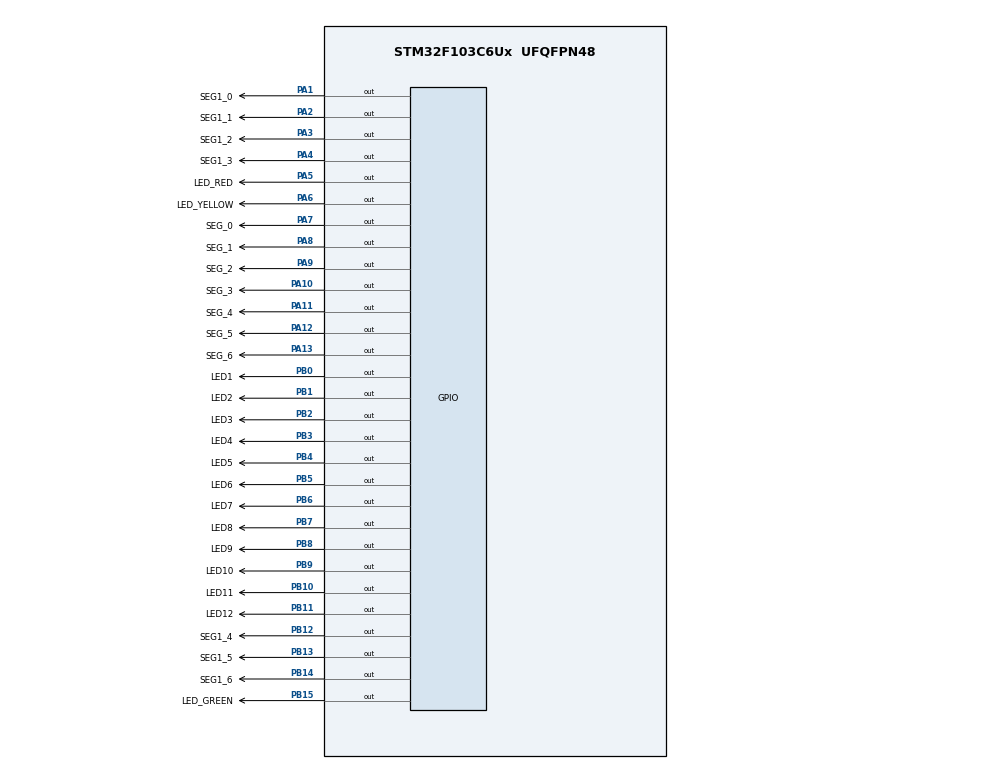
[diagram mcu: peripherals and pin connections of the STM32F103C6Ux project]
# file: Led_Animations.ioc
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Mcu.Family=STM32F1
Mcu.Name=STM32F103C6Ux
Mcu.Package=UFQFPN48
NVIC.PriorityGroup=NVIC_PRIORITYGROUP_4
PA1.GPIO_Label=SEG1_0
PA1.Signal=GPIO_Output
PA10.GPIO_Label=SEG_3
PA10.Signal=GPIO_Output
PA11.GPIO_Label=SEG_4
PA11.Signal=GPIO_Output
PA12.GPIO_Label=SEG_5
PA12.Signal=GPIO_Output
PA13.GPIO_Label=SEG_6
PA13.Signal=GPIO_Output
PA2.GPIO_Label=SEG1_1
PA2.Signal=GPIO_Output
PA3.GPIO_Label=SEG1_2
PA3.Signal=GPIO_Output
PA4.GPIO_Label=SEG1_3
PA4.Signal=GPIO_Output
PA5.GPIO_Label=LED_RED
PA5.Signal=GPIO_Output
PA6.GPIO_Label=LED_YELLOW
PA6.Signal=GPIO_Output
PA7.GPIO_Label=SEG_0
PA7.Signal=GPIO_Output
PA8.GPIO_Label=SEG_1
PA8.Signal=GPIO_Output
PA9.GPIO_Label=SEG_2
PA9.Signal=GPIO_Output
PB0.GPIO_Label=LED1
PB0.Signal=GPIO_Output
PB1.GPIO_Label=LED2
PB1.Signal=GPIO_Output
PB10.GPIO_Label=LED11
PB10.Signal=GPIO_Output
PB11.GPIO_Label=LED12
PB11.Signal=GPIO_Output
PB12.GPIO_Label=SEG1_4
PB12.Signal=GPIO_Output
PB13.GPIO_Label=SEG1_5
PB13.Signal=GPIO_Output
PB14.GPIO_Label=SEG1_6
PB14.Signal=GPIO_Output
PB15.GPIO_Label=LED_GREEN
PB15.Signal=GPIO_Output
PB2.GPIO_Label=LED3
PB2.Signal=GPIO_Output
PB3.GPIO_Label=LED4
PB3.Signal=GPIO_Output
PB4.GPIO_Label=LED5
PB4.Signal=GPIO_Output
PB5.GPIO_Label=LED6
PB5.Signal=GPIO_Output
PB6.GPIO_Label=LED7
PB6.Signal=GPIO_Output
PB7.GPIO_Label=LED8
PB7.Signal=GPIO_Output
PB8.GPIO_Label=LED9
PB8.Signal=GPIO_Output
PB9.GPIO_Label=LED10
PB9.Signal=GPIO_Output
ProjectManager.HeapSize=0x200
ProjectManager.StackSize=0x400
ProjectManager.TargetToolchain=STM32CubeIDE
RCC.APB1Freq_Value=8000000
RCC.APB2Freq_Value=8000000
VP_SYS_VS_ND.Mode=No_Debug
board=custom

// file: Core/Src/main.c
/* USER CODE BEGIN Header */
/**
  ******************************************************************************
  * @file           : main.c
  * @brief          : Main program body
  ******************************************************************************
  * @attention
  *
  * <h2><center>&copy; Copyright (c) 2024 STMicroelectronics.
  * All rights reserved.</center></h2>
  *
  * This software component is licensed by ST under BSD 3-Clause license,
  * the "License"; You may not use this file except in compliance with the
  * License. You may obtain a copy of the License at:
  *                        opensource.org/licenses/BSD-3-Clause
  *
  ******************************************************************************
  */
/* USER CODE END Header */
#include "main.h"

/* USER CODE BEGIN PV */
#define RED 100
#define YELLOW 200
#define GREEN 300
#define LED1 1
#define LED2 2
#define LED3 3
#define LED4 4
#define LED5 5
#define LED6 6
#define LED7 7
#define LED8 8
#define LED9 9
#define LED10 10
#define LED11 11
#define LED12 12

/* USER CODE END PV */

void SystemClock_Config(void);
static void MX_GPIO_Init(void);

/* USER CODE BEGIN 0 */
void OFF(int LED_COLOR){
	switch(LED_COLOR){
	case RED:
		HAL_GPIO_WritePin(LED_RED_GPIO_Port, LED_RED_Pin, SET);
		break;
	case YELLOW:
		HAL_GPIO_WritePin(LED_YELLOW_GPIO_Port, LED_YELLOW_Pin, SET);
		break;
	case GREEN:
		HAL_GPIO_WritePin(LED_GREEN_GPIO_Port, LED_GREEN_Pin, SET);
		break;
	case LED1:
		 HAL_GPIO_WritePin(LED1_GPIO_Port, LED1_Pin, RESET);
		 break;
	case LED2:
		HAL_GPIO_WritePin(LED2_GPIO_Port, LED2_Pin, RESET);
		break;
	case LED3:
		HAL_GPIO_WritePin(LED3_GPIO_Port, LED3_Pin, RESET);
		break;
	case LED4:
		HAL_GPIO_WritePin(LED4_GPIO_Port, LED4_Pin, RESET);
		break;
	case LED5:
		HAL_GPIO_WritePin(LED5_GPIO_Port, LED5_Pin, RESET);
		break;
	case LED6:
		HAL_GPIO_WritePin(LED6_GPIO_Port, LED6_Pin, RESET);
		break;
	case LED7:
		HAL_GPIO_WritePin(LED7_GPIO_Port, LED7_Pin, RESET);
		break;
	case LED8:
		HAL_GPIO_WritePin(LED8_GPIO_Port, LED8_Pin, RESET);
		break;
	case LED9:
		HAL_GPIO_WritePin(LED9_GPIO_Port, LED9_Pin, RESET);
		break;
	case LED10:
		HAL_GPIO_WritePin(LED10_GPIO_Port, LED10_Pin, RESET);
		break;
	case LED11:
		HAL_GPIO_WritePin(LED11_GPIO_Port, LED11_Pin, RESET);
		break;
	case LED12:
		HAL_GPIO_WritePin(LED12_GPIO_Port, LED12_Pin, RESET);
		break;
	default:
		break;
	}
}
void ON(int LED_COLOR){
	switch(LED_COLOR){
		case RED:
			HAL_GPIO_WritePin(LED_RED_GPIO_Port, LED_RED_Pin, RESET);
			break;
		case YELLOW:
			HAL_GPIO_WritePin(LED_YELLOW_GPIO_Port, LED_YELLOW_Pin, RESET);
			break;
		case GREEN:
			HAL_GPIO_WritePin(LED_GREEN_GPIO_Port, LED_GREEN_Pin, RESET);
			break;
		case LED1:
			HAL_GPIO_WritePin(LED1_GPIO_Port, LED1_Pin, SET);
			break;
		case LED2:
			HAL_GPIO_WritePin(LED2_GPIO_Port, LED2_Pin, SET);
			break;
		case LED3:
			HAL_GPIO_WritePin(LED3_GPIO_Port, LED3_Pin, SET);
			break;
		case LED4:
			HAL_GPIO_WritePin(LED4_GPIO_Port, LED4_Pin, SET);
			break;
		case LED5:
			HAL_GPIO_WritePin(LED5_GPIO_Port, LED5_Pin, SET);
			break;
		case LED6:
			HAL_GPIO_WritePin(LED6_GPIO_Port, LED6_Pin, SET);
			break;
		case LED7:
			HAL_GPIO_WritePin(LED7_GPIO_Port, LED7_Pin, SET);
			break;
		case LED8:
			HAL_GPIO_WritePin(LED8_GPIO_Port, LED8_Pin, SET);
			break;
		case LED9:
			HAL_GPIO_WritePin(LED9_GPIO_Port, LED9_Pin, SET);
			break;
		case LED10:
			HAL_GPIO_WritePin(LED10_GPIO_Port, LED10_Pin, SET);
			break;
		case LED11:
			HAL_GPIO_WritePin(LED11_GPIO_Port, LED11_Pin, SET);
			break;
		case LED12:
			HAL_GPIO_WritePin(LED12_GPIO_Port, LED12_Pin, SET);
			break;
		default:
			break;
		}

}
void display7SEG(int num){
	switch(num){
	case 0:
		 HAL_GPIO_WritePin(SEG_0_GPIO_Port, SEG_0_Pin, RESET);
	 	 HAL_GPIO_WritePin(SEG_1_GPIO_Port, SEG_1_Pin, RESET);
	  	 HAL_GPIO_WritePin(SEG_2_GPIO_Port, SEG_2_Pin, RESET);
	  	 HAL_GPIO_WritePin(SEG_3_GPIO_Port, SEG_3_Pin, RESET);
	  	 HAL_GPIO_WritePin(SEG_4_GPIO_Port, SEG_4_Pin, RESET);
	  	 HAL_GPIO_WritePin(SEG_5_GPIO_Port, SEG_5_Pin, RESET);
	 	 HAL_GPIO_WritePin(SEG_6_GPIO_Port, SEG_6_Pin, SET);
	 	 break;

	case 1:
		HAL_GPIO_WritePin(SEG_0_GPIO_Port, SEG_0_Pin, SET);
	  	HAL_GPIO_WritePin(SEG_1_GPIO_Port, SEG_1_Pin, RESET);
	  	HAL_GPIO_WritePin(SEG_2_GPIO_Port, SEG_2_Pin, RESET);
	 	HAL_GPIO_WritePin(SEG_3_GPIO_Port, SEG_3_Pin, SET);
	  	HAL_GPIO_WritePin(SEG_4_GPIO_Port, SEG_4_Pin, SET);
	  	HAL_GPIO_WritePin(SEG_5_GPIO_Port, SEG_5_Pin, SET);
	  	HAL_GPIO_WritePin(SEG_6_GPIO_Port, SEG_6_Pin, SET);
	  	break;
	case 2:
		HAL_GPIO_WritePin(SEG_0_GPIO_Port, SEG_0_Pin, RESET);
		HAL_GPIO_WritePin(SEG_1_GPIO_Port, SEG_1_Pin, RESET);
	  	HAL_GPIO_WritePin(SEG_2_GPIO_Port, SEG_2_Pin, SET);
	  	HAL_GPIO_WritePin(SEG_3_GPIO_Port, SEG_3_Pin, RESET);
	 	HAL_GPIO_WritePin(SEG_4_GPIO_Port, SEG_4_Pin, RESET);
	 	HAL_GPIO_WritePin(SEG_5_GPIO_Port, SEG_5_Pin, SET);
		HAL_GPIO_WritePin(SEG_6_GPIO_Port, SEG_6_Pin, RESET);
		break;
	case 3:
	  	HAL_GPIO_WritePin(SEG_0_GPIO_Port, SEG_0_Pin, RESET);
	  	HAL_GPIO_WritePin(SEG_1_GPIO_Port, SEG_1_Pin, RESET);
	  	HAL_GPIO_WritePin(SEG_2_GPIO_Port, SEG_2_Pin, RESET);
	 	HAL_GPIO_WritePin(SEG_3_GPIO_Port, SEG_3_Pin, RESET);
	 	HAL_GPIO_WritePin(SEG_4_GPIO_Port, SEG_4_Pin, SET);
	 	HAL_GPIO_WritePin(SEG_5_GPIO_Port, SEG_5_Pin, SET);
	  	HAL_GPIO_WritePin(SEG_6_GPIO_Port, SEG_6_Pin, RESET);
	  	break;

	case 4:
		HAL_GPIO_WritePin(SEG_0_GPIO_Port, SEG_0_Pin, SET);
		HAL_GPIO_WritePin(SEG_1_GPIO_Port, SEG_1_Pin, RESET);
		HAL_GPIO_WritePin(SEG_2_GPIO_Port, SEG_2_Pin, RESET);
	  	HAL_GPIO_WritePin(SEG_3_GPIO_Port, SEG_3_Pin, SET);
	  	HAL_GPIO_WritePin(SEG_4_GPIO_Port, SEG_4_Pin, SET);
		HAL_GPIO_WritePin(SEG_5_GPIO_Port, SEG_5_Pin, RESET);
		HAL_GPIO_WritePin(SEG_6_GPIO_Port, SEG_6_Pin, RESET);
		break;
	case 5:
		HAL_GPIO_WritePin(SEG_0_GPIO_Port, SEG_0_Pin, RESET);
		HAL_GPIO_WritePin(SEG_1_GPIO_Port, SEG_1_Pin, SET);
		HAL_GPIO_WritePin(SEG_2_GPIO_Port, SEG_2_Pin, RESET);
		HAL_GPIO_WritePin(SEG_3_GPIO_Port, SEG_3_Pin, RESET);
		HAL_GPIO_WritePin(SEG_4_GPIO_Port, SEG_4_Pin, SET);
		HAL_GPIO_WritePin(SEG_5_GPIO_Port, SEG_5_Pin, RESET);
		HAL_GPIO_WritePin(SEG_6_GPIO_Port, SEG_6_Pin, RESET);
		break;
	case 6:
		HAL_GPIO_WritePin(SEG_0_GPIO_Port, SEG_0_Pin, RESET);
		HAL_GPIO_WritePin(SEG_1_GPIO_Port, SEG_1_Pin, SET);
		HAL_GPIO_WritePin(SEG_2_GPIO_Port, SEG_2_Pin, RESET);
		HAL_GPIO_WritePin(SEG_3_GPIO_Port, SEG_3_Pin, RESET);
		HAL_GPIO_WritePin(SEG_4_GPIO_Port, SEG_4_Pin, RESET);
		HAL_GPIO_WritePin(SEG_5_GPIO_Port, SEG_5_Pin, RESET);
		HAL_GPIO_WritePin(SEG_6_GPIO_Port, SEG_6_Pin, RESET);
		break;
	case 7:
		HAL_GPIO_WritePin(SEG_0_GPIO_Port, SEG_0_Pin, RESET);
		HAL_GPIO_WritePin(SEG_1_GPIO_Port, SEG_1_Pin, RESET);
		HAL_GPIO_WritePin(SEG_2_GPIO_Port, SEG_2_Pin, RESET);
		HAL_GPIO_WritePin(SEG_3_GPIO_Port, SEG_3_Pin, SET);
		HAL_GPIO_WritePin(SEG_4_GPIO_Port, SEG_4_Pin, SET);
		HAL_GPIO_WritePin(SEG_5_GPIO_Port, SEG_5_Pin, SET);
		HAL_GPIO_WritePin(SEG_6_GPIO_Port, SEG_6_Pin, SET);
		break;
	case 8:
		HAL_GPIO_WritePin(SEG_0_GPIO_Port, SEG_0_Pin, RESET);
		HAL_GPIO_WritePin(SEG_1_GPIO_Port, SEG_1_Pin, RESET);
		HAL_GPIO_WritePin(SEG_2_GPIO_Port, SEG_2_Pin, RESET);
		HAL_GPIO_WritePin(SEG_3_GPIO_Port, SEG_3_Pin, RESET);
		HAL_GPIO_WritePin(SEG_4_GPIO_Port, SEG_4_Pin, RESET);
		HAL_GPIO_WritePin(SEG_5_GPIO_Port, SEG_5_Pin, RESET);
		HAL_GPIO_WritePin(SEG_6_GPIO_Port, SEG_6_Pin, RESET);
		break;
	case 9:
		HAL_GPIO_WritePin(SEG_0_GPIO_Port, SEG_0_Pin, RESET);
		HAL_GPIO_WritePin(SEG_1_GPIO_Port, SEG_1_Pin, RESET);
		HAL_GPIO_WritePin(SEG_2_GPIO_Port, SEG_2_Pin, RESET);
		HAL_GPIO_WritePin(SEG_3_GPIO_Port, SEG_3_Pin, RESET);
		HAL_GPIO_WritePin(SEG_4_GPIO_Port, SEG_4_Pin, SET);
		HAL_GPIO_WritePin(SEG_5_GPIO_Port, SEG_5_Pin, RESET);
		HAL_GPIO_WritePin(SEG_6_GPIO_Port, SEG_6_Pin, RESET);
		break;
	default:
		break;
	}
}
void display7SEG1(int num){
	switch(num){
	case 0:
		 HAL_GPIO_WritePin(SEG1_0_GPIO_Port, SEG1_0_Pin, RESET);
	 	 HAL_GPIO_WritePin(SEG1_1_GPIO_Port, SEG1_1_Pin, RESET);
	  	 HAL_GPIO_WritePin(SEG1_2_GPIO_Port, SEG1_2_Pin, RESET);
	  	 HAL_GPIO_WritePin(SEG1_3_GPIO_Port, SEG1_3_Pin, RESET);
	  	 HAL_GPIO_WritePin(SEG1_4_GPIO_Port, SEG1_4_Pin, RESET);
	  	 HAL_GPIO_WritePin(SEG1_5_GPIO_Port, SEG1_5_Pin, RESET);
	 	 HAL_GPIO_WritePin(SEG1_6_GPIO_Port, SEG1_6_Pin, SET);
	 	 break;

	case 1:
		HAL_GPIO_WritePin(SEG1_0_GPIO_Port, SEG1_0_Pin, SET);
	  	HAL_GPIO_WritePin(SEG1_1_GPIO_Port, SEG1_1_Pin, RESET);
	  	HAL_GPIO_WritePin(SEG1_2_GPIO_Port, SEG1_2_Pin, RESET);
	 	HAL_GPIO_WritePin(SEG1_3_GPIO_Port, SEG1_3_Pin, SET);
	  	HAL_GPIO_WritePin(SEG1_4_GPIO_Port, SEG1_4_Pin, SET);
	  	HAL_GPIO_WritePin(SEG1_5_GPIO_Port, SEG1_5_Pin, SET);
	  	HAL_GPIO_WritePin(SEG1_6_GPIO_Port, SEG1_6_Pin, SET);
	  	break;
	case 2:
		HAL_GPIO_WritePin(SEG1_0_GPIO_Port, SEG1_0_Pin, RESET);
		HAL_GPIO_WritePin(SEG1_1_GPIO_Port, SEG1_1_Pin, RESET);
	  	HAL_GPIO_WritePin(SEG1_2_GPIO_Port, SEG1_2_Pin, SET);
	  	HAL_GPIO_WritePin(SEG1_3_GPIO_Port, SEG1_3_Pin, RESET);
	 	HAL_GPIO_WritePin(SEG1_4_GPIO_Port, SEG1_4_Pin, RESET);
	 	HAL_GPIO_WritePin(SEG1_5_GPIO_Port, SEG1_5_Pin, SET);
		HAL_GPIO_WritePin(SEG1_6_GPIO_Port, SEG1_6_Pin, RESET);
		break;
	case 3:
	  	HAL_GPIO_WritePin(SEG1_0_GPIO_Port, SEG1_0_Pin, RESET);
	  	HAL_GPIO_WritePin(SEG1_1_GPIO_Port, SEG1_1_Pin, RESET);
	  	HAL_GPIO_WritePin(SEG1_2_GPIO_Port, SEG1_2_Pin, RESET);
	 	HAL_GPIO_WritePin(SEG1_3_GPIO_Port, SEG1_3_Pin, RESET);
	 	HAL_GPIO_WritePin(SEG1_4_GPIO_Port, SEG1_4_Pin, SET);
	 	HAL_GPIO_WritePin(SEG1_5_GPIO_Port, SEG1_5_Pin, SET);
	  	HAL_GPIO_WritePin(SEG1_6_GPIO_Port, SEG1_6_Pin, RESET);
	  	break;

	case 4:
		HAL_GPIO_WritePin(SEG1_0_GPIO_Port, SEG1_0_Pin, SET);
		HAL_GPIO_WritePin(SEG1_1_GPIO_Port, SEG1_1_Pin, RESET);
		HAL_GPIO_WritePin(SEG1_2_GPIO_Port, SEG1_2_Pin, RESET);
	  	HAL_GPIO_WritePin(SEG1_3_GPIO_Port, SEG1_3_Pin, SET);
	  	HAL_GPIO_WritePin(SEG1_4_GPIO_Port, SEG1_4_Pin, SET);
		HAL_GPIO_WritePin(SEG1_5_GPIO_Port, SEG1_5_Pin, RESET);
		HAL_GPIO_WritePin(SEG1_6_GPIO_Port, SEG1_6_Pin, RESET);
		break;
	case 5:
		HAL_GPIO_WritePin(SEG1_0_GPIO_Port, SEG1_0_Pin, RESET);
		HAL_GPIO_WritePin(SEG1_1_GPIO_Port, SEG1_1_Pin, SET);
		HAL_GPIO_WritePin(SEG1_2_GPIO_Port, SEG1_2_Pin, RESET);
		HAL_GPIO_WritePin(SEG1_3_GPIO_Port, SEG1_3_Pin, RESET);
		HAL_GPIO_WritePin(SEG1_4_GPIO_Port, SEG1_4_Pin, SET);
		HAL_GPIO_WritePin(SEG1_5_GPIO_Port, SEG1_5_Pin, RESET);
		HAL_GPIO_WritePin(SEG1_6_GPIO_Port, SEG1_6_Pin, RESET);
		break;
	case 6:
		HAL_GPIO_WritePin(SEG1_0_GPIO_Port, SEG1_0_Pin, RESET);
		HAL_GPIO_WritePin(SEG1_1_GPIO_Port, SEG1_1_Pin, SET);
		HAL_GPIO_WritePin(SEG1_2_GPIO_Port, SEG1_2_Pin, RESET);
		HAL_GPIO_WritePin(SEG1_3_GPIO_Port, SEG1_3_Pin, RESET);
		HAL_GPIO_WritePin(SEG1_4_GPIO_Port, SEG1_4_Pin, RESET);
		HAL_GPIO_WritePin(SEG1_5_GPIO_Port, SEG1_5_Pin, RESET);
		HAL_GPIO_WritePin(SEG1_6_GPIO_Port, SEG1_6_Pin, RESET);
		break;
	case 7:
		HAL_GPIO_WritePin(SEG1_0_GPIO_Port, SEG1_0_Pin, RESET);
		HAL_GPIO_WritePin(SEG1_1_GPIO_Port, SEG1_1_Pin, RESET);
		HAL_GPIO_WritePin(SEG1_2_GPIO_Port, SEG1_2_Pin, RESET);
		HAL_GPIO_WritePin(SEG1_3_GPIO_Port, SEG1_3_Pin, SET);
		HAL_GPIO_WritePin(SEG1_4_GPIO_Port, SEG1_4_Pin, SET);
		HAL_GPIO_WritePin(SEG1_5_GPIO_Port, SEG1_5_Pin, SET);
		HAL_GPIO_WritePin(SEG1_6_GPIO_Port, SEG1_6_Pin, SET);
		break;
	case 8:
		HAL_GPIO_WritePin(SEG1_0_GPIO_Port, SEG1_0_Pin, RESET);
		HAL_GPIO_WritePin(SEG1_1_GPIO_Port, SEG1_1_Pin, RESET);
		HAL_GPIO_WritePin(SEG1_2_GPIO_Port, SEG1_2_Pin, RESET);
		HAL_GPIO_WritePin(SEG1_3_GPIO_Port, SEG1_3_Pin, RESET);
		HAL_GPIO_WritePin(SEG1_4_GPIO_Port, SEG1_4_Pin, RESET);
		HAL_GPIO_WritePin(SEG1_5_GPIO_Port, SEG1_5_Pin, RESET);
		HAL_GPIO_WritePin(SEG1_6_GPIO_Port, SEG1_6_Pin, RESET);
		break;
	case 9:
		HAL_GPIO_WritePin(SEG1_0_GPIO_Port, SEG1_0_Pin, RESET);
		HAL_GPIO_WritePin(SEG1_1_GPIO_Port, SEG1_1_Pin, RESET);
		HAL_GPIO_WritePin(SEG1_2_GPIO_Port, SEG1_2_Pin, RESET);
		HAL_GPIO_WritePin(SEG1_3_GPIO_Port, SEG1_3_Pin, RESET);
		HAL_GPIO_WritePin(SEG1_4_GPIO_Port, SEG1_4_Pin, SET);
		HAL_GPIO_WritePin(SEG1_5_GPIO_Port, SEG1_5_Pin, RESET);
		HAL_GPIO_WritePin(SEG1_6_GPIO_Port, SEG1_6_Pin, RESET);
		break;
	default:
		break;
	}
}
void EX1(int EX1_counter){
	if(EX1_counter>2){
		ON(YELLOW);
		OFF(RED);
	}else if(EX1_counter>0){
		ON(RED);
		OFF(YELLOW);
	}
}
/*void EX2(int EX2_counter){
	if(EX2_counter>5){
		ON(RED);
		OFF(GREEN);
		OFF(YELLOW);
	}else if(EX2_counter>2){
		ON(GREEN);
		OFF(RED);
		OFF(YELLOW);
	}else if(EX2_counter>0){
		ON(YELLOW);
		OFF(RED);
		OFF(GREEN);
	}
}*/
void EX3(int EX3_counter1,int EX3_counter2){
	if(EX3_counter1>5){
			ON(LED1);
			ON(LED7);

			OFF(LED11);
			OFF(LED5);

			OFF(LED12);
			OFF(LED6);
			display7SEG(EX3_counter1-5);//EX5
			if(EX3_counter2>7){
				ON(LED2);
				ON(LED8);

				OFF(LED3);
				OFF(LED9);

				OFF(LED4);
				OFF(LED10);
				display7SEG1(EX3_counter2-7);//EX5
			}else if(EX3_counter2>5){
				ON(LED4);
				ON(LED10);

				OFF(LED3);
				OFF(LED9);

				OFF(LED2);
				OFF(LED8);
				display7SEG1(EX3_counter2-5);//EX5
			}
	}else if(EX3_counter1>2){

			ON(LED6);
			ON(LED12);

			OFF(LED11);
			OFF(LED5);

			OFF(LED1);
			OFF(LED7);
			display7SEG(EX3_counter1-2);//EX5
		}else if(EX3_counter1>0){
			ON(LED5);
			ON(LED11);

			OFF(LED1);
			OFF(LED7);

			OFF(LED12);
			OFF(LED6);
			display7SEG(EX3_counter1);//EX5
		}
	if(EX3_counter2<=5){
		ON(LED3);
		ON(LED9);

		OFF(LED4);
		OFF(LED10);

		OFF(LED2);
		OFF(LED8);
		display7SEG1(EX3_counter2);//EX5
	}
}

void 	setNumberOnClock(int num){
	switch(num){
	case 0:
		ON(LED12);

		break;
	case 1:
		ON(LED1);
		break;
	case 2:
		ON(LED2);
		break;
	case 3:
		ON(LED3);
		break;
	case 4:
		ON(LED4);
		break;
	case 5:
		ON(LED5);
		break;
	case 6:
		ON(LED6);
		break;
	case 7:
		ON(LED7);
		break;
	case 8:
		ON(LED8);
		break;
	case 9:
		ON(LED9);
		break;
	case 10:
		ON(LED10);
		break;
	case 11:
		ON(LED11);
		break;
	default:
		break;
	}
}
void clearNumberOnClock(int num){
	switch(num){
	case 0:
		OFF(LED12);
		break;
	case 1:
		OFF(LED1);
		break;
	case 2:
		OFF(LED2);
		break;
	case 3:
		OFF(LED3);
		break;
	case 4:
		OFF(LED4);
		break;
	case 5:
		OFF(LED5);
		break;
	case 6:
		OFF(LED6);
		break;
	case 7:
		OFF(LED7);
		break;
	case 8:
		OFF(LED8);
		break;
	case 9:
		OFF(LED9);
		break;
	case 10:
		OFF(LED10);
		break;
	case 11:
		OFF(LED11);
		break;
	default:
		break;
	}
}
void clearAllClock(){
	OFF(LED1);
	OFF(LED2);
	OFF(LED3);
	OFF(LED4);
	OFF(LED5);
	OFF(LED6);
	OFF(LED7);
	OFF(LED8);
	OFF(LED9);
	OFF(LED10);
	OFF(LED11);
	OFF(LED12);
}
void EX10(int hour, int min, int sec){
	clearNumberOnClock(hour-1);
	clearNumberOnClock(min/5-1);
	clearNumberOnClock(sec/5-1);
	if(hour==0){
			clearNumberOnClock(11);
		}
		if(sec==0){
			clearNumberOnClock(11);
		}
		if(min==0){
				clearNumberOnClock(11);
			}
	setNumberOnClock(hour);
	setNumberOnClock(min/5);
	setNumberOnClock(sec/5);
}

/* USER CODE END 0 */

int main(void)
{

  /* MCU Configuration--------------------------------------------------------*/

  /* Reset of all peripherals, Initializes the Flash interface and the Systick. */
  HAL_Init();

  /* Configure the system clock */
  SystemClock_Config();

  /* Initialize all configured peripherals */
  MX_GPIO_Init();

  /* Infinite loop */
  /* USER CODE BEGIN WHILE */
//int EX1_counter=4;
//int EX2_counter=10; int EX3_counter=10;
//int EX4_counter=10;
//int EX6_counter=0;
int hour=6; int min=50; int sec=0;
  while (1)
  {

//Excercise 1
	 /* EX1(EX1_counter--);
	  if(EX1_counter<=0){
	  		EX1_counter=4;
	  }*/
//Excercise 2
	 // EX2(EX2_counter);

//Excercise 3,5
/*	EX3(EX2_counter--,EX3_counter--);

	 if(EX2_counter<=0){
	 	EX2_counter=10;
	 }
	 if(EX3_counter<=0){
	 	EX3_counter=10;
	 }*/
//Excercise 4
	  /*if(EX4_counter>=10)	EX4_counter=0;
	  display7SEG(EX4_counter++);*/
//Excercise 6
	/*  ON(LED1);
	  	ON(LED2);
	  	ON(LED3);
	  	ON(LED4);
	  	ON(LED5);
	  	ON(LED6);
	  	ON(LED7);
	  	ON(LED8);
	  	ON(LED9);
	  	ON(LED10);
	  	ON(LED11);
	  	ON(LED12);
	  if(EX6_counter>11){
		  EX6_counter=0;
	  }
	  clearNumberOnClock(EX6_counter++);*/
//Excercise 10
 EX10(hour,min,sec++);
	 if(sec>59){
		 sec=0;
		 min++;
	 }
	 if(min>59){
		 hour++;
		 min=0;
	 }
	 if(hour>11){
		 hour=0;
	 }
	  HAL_Delay(1000);
    /* USER CODE END WHILE */

  }
}

void SystemClock_Config(void)
{
  RCC_OscInitTypeDef RCC_OscInitStruct = {0};
  RCC_ClkInitTypeDef RCC_ClkInitStruct = {0};

  /** Initializes the RCC Oscillators according to the specified parameters
  * in the RCC_OscInitTypeDef structure.
  */
  RCC_OscInitStruct.OscillatorType = RCC_OSCILLATORTYPE_HSI;
  RCC_OscInitStruct.HSIState = RCC_HSI_ON;
  RCC_OscInitStruct.HSICalibrationValue = RCC_HSICALIBRATION_DEFAULT;
  RCC_OscInitStruct.PLL.PLLState = RCC_PLL_NONE;
  if (HAL_RCC_OscConfig(&RCC_OscInitStruct) != HAL_OK)
  {
    Error_Handler();
  }
  /** Initializes the CPU, AHB and APB buses clocks
  */
  RCC_ClkInitStruct.ClockType = RCC_CLOCKTYPE_HCLK|RCC_CLOCKTYPE_SYSCLK
                              |RCC_CLOCKTYPE_PCLK1|RCC_CLOCKTYPE_PCLK2;
  RCC_ClkInitStruct.SYSCLKSource = RCC_SYSCLKSOURCE_HSI;
  RCC_ClkInitStruct.AHBCLKDivider = RCC_SYSCLK_DIV1;
  RCC_ClkInitStruct.APB1CLKDivider = RCC_HCLK_DIV1;
  RCC_ClkInitStruct.APB2CLKDivider = RCC_HCLK_DIV1;

  if (HAL_RCC_ClockConfig(&RCC_ClkInitStruct, FLASH_LATENCY_0) != HAL_OK)
  {
    Error_Handler();
  }
}

static void MX_GPIO_Init(void)
{
  GPIO_InitTypeDef GPIO_InitStruct = {0};

  /* GPIO Ports Clock Enable */
  __HAL_RCC_GPIOA_CLK_ENABLE();
  __HAL_RCC_GPIOB_CLK_ENABLE();

  /*Configure GPIO pin Output Level */
  HAL_GPIO_WritePin(GPIOA, SEG1_0_Pin|SEG1_1_Pin|SEG1_2_Pin|SEG1_3_Pin
                          |LED_RED_Pin|LED_YELLOW_Pin|SEG_0_Pin|SEG_1_Pin
                          |SEG_2_Pin|SEG_3_Pin|SEG_4_Pin|SEG_5_Pin
                          |SEG_6_Pin, GPIO_PIN_RESET);

  /*Configure GPIO pin Output Level */
  HAL_GPIO_WritePin(GPIOB, LED1_Pin|LED2_Pin|LED3_Pin|LED11_Pin
                          |LED12_Pin|SEG1_4_Pin|SEG1_5_Pin|SEG1_6_Pin
                          |LED_GREEN_Pin|LED4_Pin|LED5_Pin|LED6_Pin
                          |LED7_Pin|LED8_Pin|LED9_Pin|LED10_Pin, GPIO_PIN_RESET);

  /*Configure GPIO pins : SEG1_0_Pin SEG1_1_Pin SEG1_2_Pin SEG1_3_Pin
                           LED_RED_Pin LED_YELLOW_Pin SEG_0_Pin SEG_1_Pin
                           SEG_2_Pin SEG_3_Pin SEG_4_Pin SEG_5_Pin
                           SEG_6_Pin */
  GPIO_InitStruct.Pin = SEG1_0_Pin|SEG1_1_Pin|SEG1_2_Pin|SEG1_3_Pin
                          |LED_RED_Pin|LED_YELLOW_Pin|SEG_0_Pin|SEG_1_Pin
                          |SEG_2_Pin|SEG_3_Pin|SEG_4_Pin|SEG_5_Pin
                          |SEG_6_Pin;
  GPIO_InitStruct.Mode = GPIO_MODE_OUTPUT_PP;
  GPIO_InitStruct.Pull = GPIO_NOPULL;
  GPIO_InitStruct.Speed = GPIO_SPEED_FREQ_LOW;
  HAL_GPIO_Init(GPIOA, &GPIO_InitStruct);

  /*Configure GPIO pins : LED1_Pin LED2_Pin LED3_Pin LED11_Pin
                           LED12_Pin SEG1_4_Pin SEG1_5_Pin SEG1_6_Pin
                           LED_GREEN_Pin LED4_Pin LED5_Pin LED6_Pin
                           LED7_Pin LED8_Pin LED9_Pin LED10_Pin */
  GPIO_InitStruct.Pin = LED1_Pin|LED2_Pin|LED3_Pin|LED11_Pin
                          |LED12_Pin|SEG1_4_Pin|SEG1_5_Pin|SEG1_6_Pin
                          |LED_GREEN_Pin|LED4_Pin|LED5_Pin|LED6_Pin
                          |LED7_Pin|LED8_Pin|LED9_Pin|LED10_Pin;
  GPIO_InitStruct.Mode = GPIO_MODE_OUTPUT_PP;
  GPIO_InitStruct.Pull = GPIO_NOPULL;
  GPIO_InitStruct.Speed = GPIO_SPEED_FREQ_LOW;
  HAL_GPIO_Init(GPIOB, &GPIO_InitStruct);

}

void Error_Handler(void)
{
  __disable_irq();
  while (1)
  {
  }
}

/************************ (C) COPYRIGHT STMicroelectronics *****END OF FILE****/
